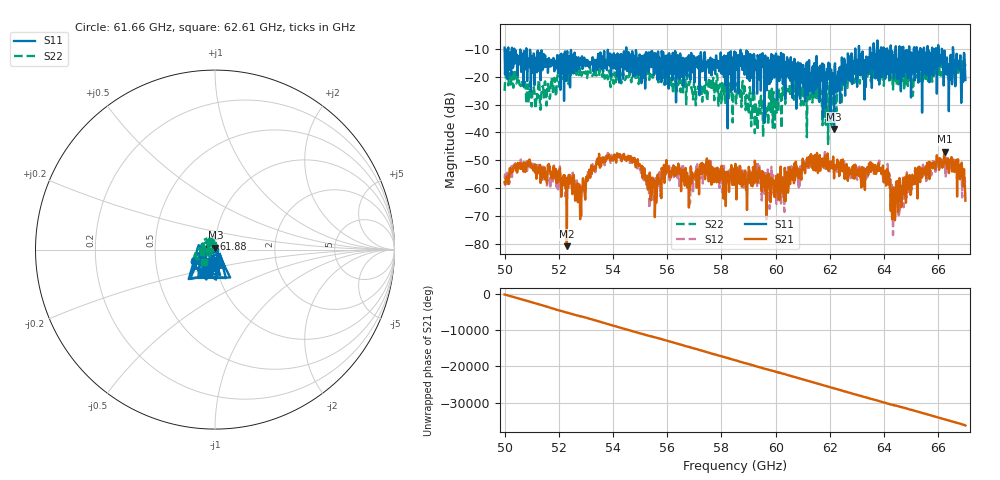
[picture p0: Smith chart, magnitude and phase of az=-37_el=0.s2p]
!Created with skrf (http://scikit-rf.org).
# GHz S RI R 50.0
!freq ReS11 ImS11 ReS21 ImS21 ReS12 ImS12 ReS22 ImS22
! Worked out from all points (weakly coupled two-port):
!   1001 points, 50 GHz to 67 GHz, reference 50 ohm
!   highest |S21| = -46.92 dB at 66.23 GHz (marker M1); lowest = -80.7 dB at 52.3 GHz (marker M2)
!   lowest |S11| = -38.8 dB at 62.16 GHz (marker M3), VSWR 1.02, Z = 50.2 + j1.14 ohm
!   |S11| at or under -10 dB: 50.8 GHz to 54.49 GHz (3.685 GHz wide, 7 % of centre); 54.49 GHz to 62.94 GHz (8.447 GHz wide, 14.4 % of centre); 66.01 GHz to 66.54 GHz (530.1 MHz wide, 0.8 % of centre) (the widest 3 of 28)
!   |S22| runs from -44.2 to -14.2 dB; largest |S21 - S12| = 0.0022
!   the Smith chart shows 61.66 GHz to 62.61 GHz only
!   S11 on the Smith chart (normalised r, x): 61.66 GHz: 0.97, -0.16; 61.88 GHz: 0.98, +0.12; 62.61 GHz: 0.86, -0.11
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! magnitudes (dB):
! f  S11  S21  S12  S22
! 50 GHz  -9.7  -57.8  -56.4  -25.1
! 50.88 GHz  -15.7  -50.2  -50.4  -29.4
! 52.3 GHz  -12.4  -80.7  -63.3  -20.0
! 52.84 GHz  -13.4  -59.7  -59.3  -19.7
! 53.81 GHz  -10.4  -48.3  -47.3  -21.0
! 55.68 GHz  -13.7  -57.6  -60.2  -22.1
! 56.03 GHz  -12.7  -52.9  -54.9  -19.6
! 58.5 GHz  -25.4  -58.7  -57.3  -23.7
! 59.32 GHz  -26.1  -55.9  -59.1  -32.1
! 60.23 GHz  -16.3  -60.5  -62.9  -26.6
! 60.59 GHz  -21.4  -55.6  -52.2  -22.5
! 61.34 GHz  -25.3  -52.6  -50.9  -26.7
! 61.66 GHz  -21.6  -49.5  -50.8  -26.0
! 61.88 GHz  -24.6  -50.4  -49.7  -23.7
! 62.16 GHz  -38.8  -56.4  -51.7  -27.7
! 62.61 GHz  -20.5  -51.3  -51.9  -20.6
! 63.8 GHz  -15.5  -52.8  -50.7  -16.9
! 64.18 GHz  -18.1  -56.3  -57.7  -18.8
! 64.33 GHz  -13.3  -59.8  -76.7  -24.6
! 66.23 GHz  -10.8  -46.9  -49.8  -16.4
! 66.81 GHz  -12.4  -56.4  -53.4  -15.2
! 67 GHz  -21.3  -64.4  -56.2  -15.6
